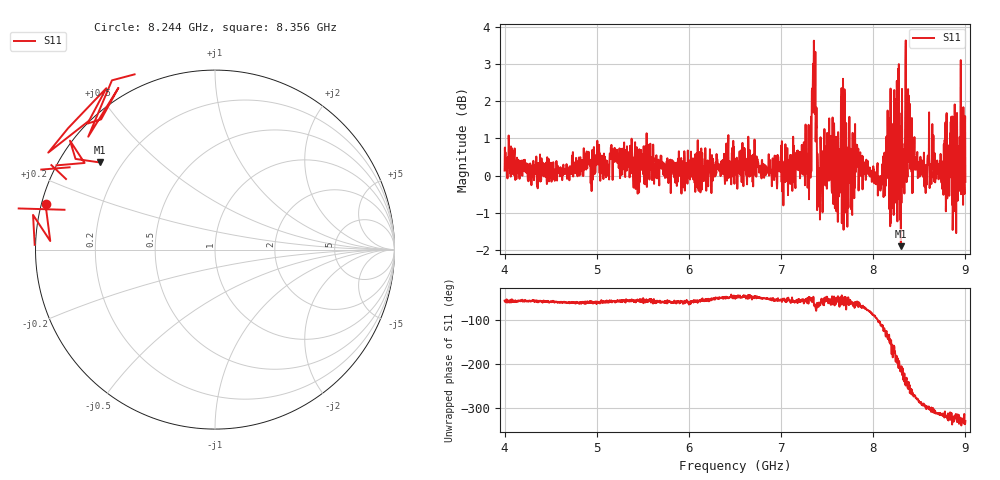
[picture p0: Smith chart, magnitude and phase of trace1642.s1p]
! Created with skrf 1.8.0 (http://scikit-rf.org).
# Hz S RI R 50.0
!freq ReS11 ImS11
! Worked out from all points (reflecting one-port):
!   1601 points, 4 GHz to 9 GHz, reference 50 ohm
!   lowest |S11| = -1.9 dB at 8.3 GHz (marker M1), VSWR 9.16, Z = 6.07 + j16.6 ohm
!   phase of S11 starts at -56 deg and turns -273 deg over the sweep
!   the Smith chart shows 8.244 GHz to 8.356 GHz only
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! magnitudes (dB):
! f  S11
! 4 GHz  0.1
! 4.625 GHz  -0.1
! 5.25 GHz  0.1
! 5.875 GHz  0.1
! 6.5 GHz  0.3
! 7.125 GHz  0.0
! 7.294 GHz  0.3
! 7.359 GHz  3.0
! 7.4 GHz  -0.6
! 7.425 GHz  -0.3
! 7.491 GHz  0.7
! 7.609 GHz  0.3
! 7.669 GHz  0.4
! 7.75 GHz  -0.2
! 7.828 GHz  0.4
! 8.091 GHz  0.0
! 8.162 GHz  -0.1
! 8.2 GHz  1.4
! 8.253 GHz  0.0
! 8.3 GHz  -1.9
! 8.316 GHz  0.0
! 8.334 GHz  0.4
! 8.375 GHz  1.3
! 8.425 GHz  0.0
! 8.556 GHz  -0.3
! 8.875 GHz  0.7
! 8.972 GHz  0.6
! 9 GHz  -0.2
